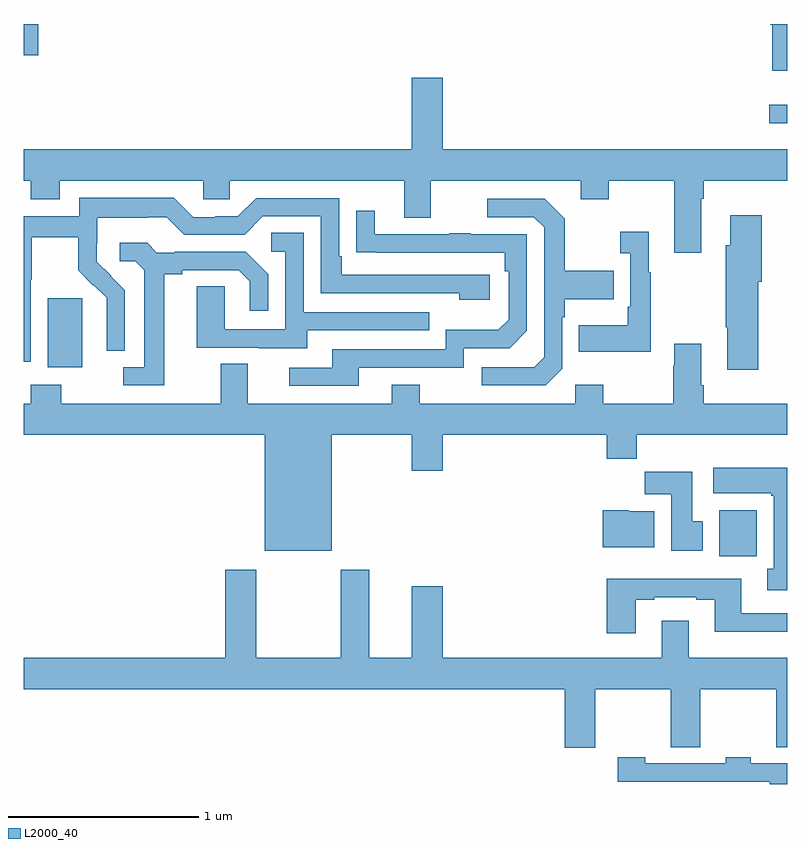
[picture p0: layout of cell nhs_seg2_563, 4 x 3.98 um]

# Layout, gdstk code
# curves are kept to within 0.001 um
import gdstk
lib = gdstk.Library(unit=1e-6, precision=1e-09)
def R(c, l, rs):  # rectangles x0, y0, x1, y1
    for r in rs: c.add(gdstk.rectangle(r[:2], r[2:], *l))
def P(c, l, *ps):  # polygons
    for p in ps: c.add(gdstk.Polygon(p, *l))
L2000_40 = (2000, 40)

nhs_seg2_563 = lib.new_cell('nhs_seg2_563')
R(nhs_seg2_563, L2000_40, [(142.643,635.012,142.84,635.254), (139.127,636.002,139.306,636.363), (142.905,637.28,143,637.377), (139,637.637,139.075,637.8)])
P(nhs_seg2_563, L2000_40, [(143,637.8),(142.91,637.8),(142.91,637.796),(142.922,637.796),(142.922,637.556),(143,637.556)],
  [(142.549,636.884),(142.562,636.884),(142.562,636.98),(143,636.98),(143,637.144),(141.196,637.144),(141.196,637.519),(141.032,637.519),(141.032,637.144),(139,637.144),(139,636.98),(139.037,636.98),(139.037,636.881),(139.189,636.881),(139.189,636.98),(139.941,636.98),(139.941,636.882),(140.079,636.882),(140.079,636.98),(140.993,636.98),(140.993,636.786),(141.133,636.786),(141.133,636.98),(141.917,636.98),(141.917,636.881),(142.065,636.881),(142.065,636.98),(142.409,636.98),(142.409,636.603),(142.549,636.603)],
  [(139.038,636.46),(139.041,636.46),(139.041,636.684),(139.285,636.684),(139.285,636.509),(139.362,636.432),(139.365,636.435),(139.436,636.365),(139.436,636.242),(139.434,636.242),(139.434,636.088),(139.53,636.088),(139.53,636.406),(139.384,636.554),(139.384,636.651),(139.386,636.651),(139.386,636.785),(139.649,636.785),(139.649,636.789),(139.749,636.789),(139.842,636.696),(140.157,636.696),(140.253,636.792),(140.556,636.792),(140.556,636.39),(141.281,636.39),(141.281,636.356),(141.442,636.356),(141.442,636.486),(140.665,636.486),(140.665,636.583),(140.652,636.583),(140.652,636.888),(140.217,636.888),(140.121,636.792),(140.003,636.792),(140.003,636.789),(139.887,636.789),(139.787,636.889),(139.29,636.889),(139.29,636.792),(139,636.792),(139,636.031),(139.038,636.031)],
  [(141.822,635.994),(141.822,636.263),(141.835,636.263),(141.835,636.359),(142.091,636.359),(142.091,636.507),(141.835,636.507),(141.835,636.779),(141.729,636.885),(141.429,636.885),(141.429,636.789),(141.672,636.789),(141.726,636.735),(141.726,636.054),(141.675,636.003),(141.399,636.003),(141.399,635.907),(141.735,635.907)],
  [(140.755,636),(141.306,636),(141.306,636.102),(141.546,636.102),(141.636,636.192),(141.636,636.699),(141.341,636.699),(141.341,636.704),(141.229,636.704),(141.229,636.699),(140.839,636.699),(140.839,636.823),(140.743,636.823),(140.743,636.604),(141.52,636.603),(141.52,636.506),(141.54,636.506),(141.54,636.252),(141.487,636.199),(141.21,636.199),(141.21,636.096),(140.615,636.096),(140.615,636),(140.391,636),(140.391,635.904),(140.755,635.904)],
  [(142.848,636.45),(142.866,636.45),(142.866,636.799),(142.7,636.799),(142.7,636.642),(142.678,636.642),(142.678,636.211),(142.685,636.211),(142.685,635.988),(142.848,635.988)],
  [(142.285,636.499),(142.273,636.499),(142.273,636.712),(142.125,636.712),(142.125,636.599),(142.176,636.599),(142.176,636.319),(142.164,636.319),(142.164,636.223),(141.907,636.223),(141.907,636.083),(142.285,636.083)],
  [(140.485,636.195),(141.125,636.195),(141.125,636.291),(140.466,636.291),(140.466,636.707),(140.298,636.707),(140.298,636.606),(140.37,636.606),(140.37,636.201),(140.052,636.201),(140.052,636.425),(139.907,636.425),(139.907,636.105),(140.231,636.105),(140.231,636.101),(140.485,636.101)],
  [(139.735,636.488),(139.831,636.488),(139.831,636.51),(140.126,636.51),(140.183,636.453),(140.183,636.297),(140.28,636.297),(140.28,636.49),(140.164,636.606),(139.792,636.606),(139.792,636.603),(139.698,636.603),(139.646,636.655),(139.503,636.655),(139.503,636.558),(139.584,636.558),(139.631,636.511),(139.631,636.003),(139.521,636.003),(139.521,635.907),(139.735,635.907)],
  [(140.614,635.648),(141.032,635.648),(141.032,635.46),(141.196,635.46),(141.196,635.648),(142.055,635.648),(142.055,635.524),(142.211,635.524),(142.211,635.648),(143,635.648),(143,635.812),(142.562,635.812),(142.562,635.908),(142.549,635.908),(142.549,636.124),(142.409,636.124),(142.409,636.011),(142.402,636.011),(142.402,635.812),(142.035,635.812),(142.035,635.911),(141.888,635.911),(141.888,635.812),(141.075,635.812),(141.075,635.911),(140.927,635.911),(140.927,635.812),(140.173,635.812),(140.173,636.02),(140.033,636.02),(140.033,635.812),(139.197,635.812),(139.197,635.911),(139.037,635.911),(139.037,635.812),(139,635.812),(139,635.648),(140.264,635.648),(140.264,635.042),(140.614,635.042)],
  [(143,635.476),(142.611,635.476),(142.611,635.342),(142.915,635.342),(142.915,635.329),(142.928,635.329),(142.928,634.946),(142.895,634.946),(142.895,634.833),(143,634.833)],
  [(142.558,635.196),(142.501,635.196),(142.501,635.455),(142.252,635.455),(142.252,635.336),(142.391,635.336),(142.391,635.04),(142.558,635.04)],
  [(142.303,635.248),(142.17,635.248),(142.17,635.254),(142.034,635.254),(142.034,635.06),(142.303,635.06)],
  [(141.993,634.316),(142.39,634.316),(142.39,634.012),(142.544,634.012),(142.544,634.316),(142.942,634.316),(142.942,634.012),(143,634.012),(143,634.48),(142.483,634.48),(142.483,634.675),(142.343,634.675),(142.343,634.48),(141.196,634.48),(141.196,634.855),(141.032,634.855),(141.032,634.48),(140.809,634.48),(140.809,634.942),(140.662,634.942),(140.662,634.48),(140.217,634.48),(140.217,634.942),(140.057,634.942),(140.057,634.48),(139,634.48),(139,634.316),(141.833,634.316),(141.833,634.008),(141.993,634.008)],
  [(142.207,634.785),(142.303,634.785),(142.303,634.797),(142.523,634.797),(142.523,634.785),(142.619,634.785),(142.619,634.616),(143,634.616),(143,634.713),(142.759,634.713),(142.759,634.894),(142.055,634.894),(142.055,634.608),(142.207,634.608)],
  [(143,633.927),(142.809,633.927),(142.809,633.96),(142.677,633.96),(142.677,633.927),(142.257,633.927),(142.257,633.96),(142.113,633.96),(142.113,633.831),(142.909,633.831),(142.909,633.819),(143,633.819)])

lib.write_gds('nhs_seg2_563.gds')
